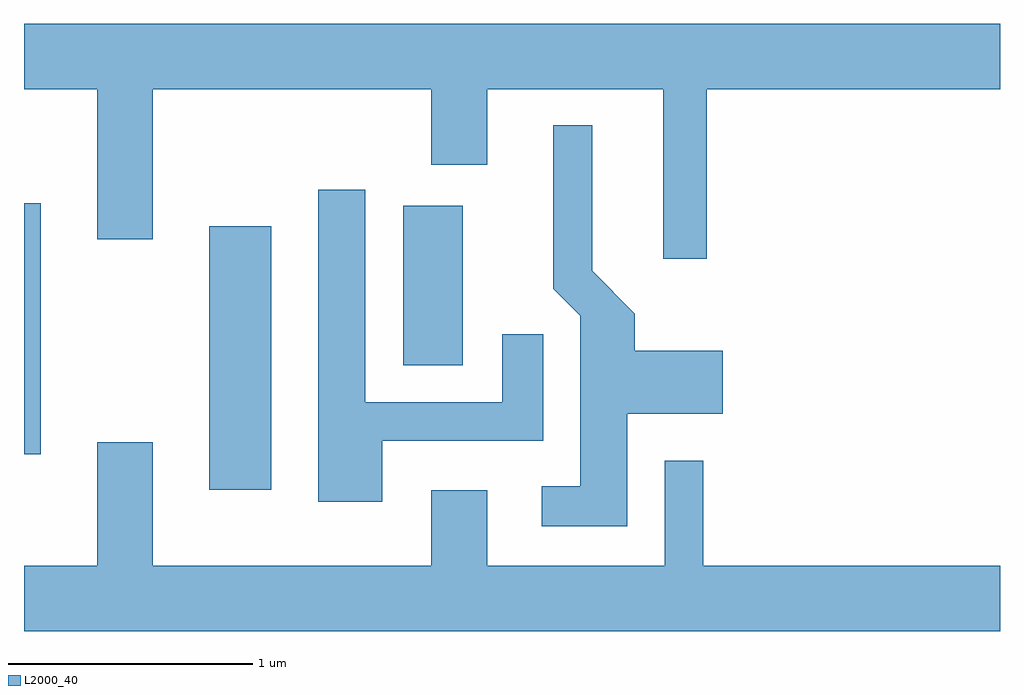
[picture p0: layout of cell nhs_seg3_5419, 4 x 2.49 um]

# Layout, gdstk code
import gdstk
lib = gdstk.Library(unit=1e-6, precision=1e-09)
def R(c, l, rs):  # rectangles x0, y0, x1, y1
    for r in rs: c.add(gdstk.rectangle(r[:2], r[2:], *l))
def P(c, l, *ps):  # polygons
    for p in ps: c.add(gdstk.Polygon(p, *l))
L2000_40 = (2000, 40)

nhs_seg3_5419 = lib.new_cell('nhs_seg3_5419')
R(nhs_seg3_5419, L2000_40, [(344.371,1219.836,344.624,1220.914), (343.611,1219.981,343.679,1221.009), (345.166,1220.346,345.409,1220.999)])
P(nhs_seg3_5419, L2000_40, [(346.409,1221.476),(347.611,1221.476),(347.611,1221.744),(343.611,1221.744),(343.611,1221.476),(343.911,1221.476),(343.911,1220.861),(344.139,1220.861),(344.139,1221.476),(345.281,1221.476),(345.281,1221.166),(345.509,1221.166),(345.509,1221.476),(346.231,1221.476),(346.231,1220.781),(346.409,1220.781)],
  [(346.084,1220.146),(346.474,1220.146),(346.474,1220.404),(346.114,1220.404),(346.114,1220.557),(345.939,1220.732),(345.939,1221.328),(345.781,1221.328),(345.781,1220.659),(345.891,1220.549),(345.891,1219.849),(345.733,1219.849),(345.733,1219.686),(346.084,1219.686)],
  [(345.079,1220.036),(345.739,1220.036),(345.739,1220.473),(345.571,1220.473),(345.571,1220.194),(345.009,1220.194),(345.009,1221.064),(344.816,1221.064),(344.816,1219.786),(345.079,1219.786)],
  [(347.611,1219.524),(346.394,1219.524),(346.394,1219.953),(346.236,1219.953),(346.236,1219.524),(345.509,1219.524),(345.509,1219.834),(345.281,1219.834),(345.281,1219.524),(344.139,1219.524),(344.139,1220.029),(343.911,1220.029),(343.911,1219.524),(343.611,1219.524),(343.611,1219.256),(347.611,1219.256)])

lib.write_gds('nhs_seg3_5419.gds')
